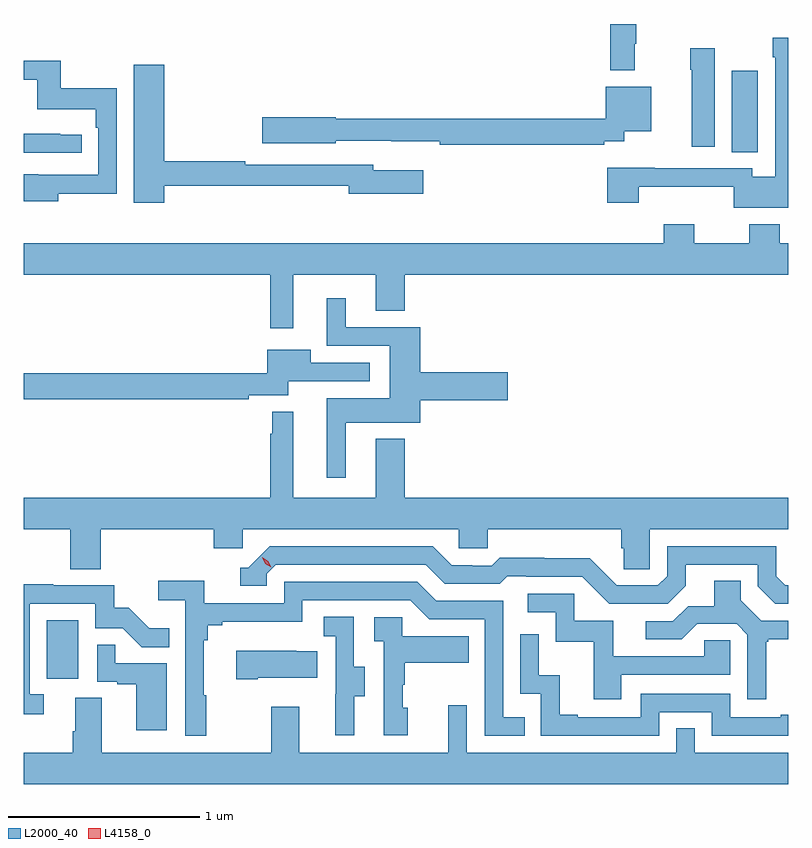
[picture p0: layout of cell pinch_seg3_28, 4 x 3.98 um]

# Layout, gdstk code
import gdstk
lib = gdstk.Library(unit=1e-6, precision=1e-09)
def R(c, l, rs):  # rectangles x0, y0, x1, y1
    for r in rs: c.add(gdstk.rectangle(r[:2], r[2:], *l))
def P(c, l, *ps):  # polygons
    for p in ps: c.add(gdstk.Polygon(p, *l))
L2000_40 = (2000, 40)
L4158_0 = (4158, 0)

pinch_seg3_28 = lib.new_cell('pinch_seg3_28')
R(pinch_seg3_28, L2000_40, [(1103.048,729.438,1103.212,729.745), (1106.63,732.193,1106.767,732.619)])
P(pinch_seg3_28, L2000_40, [(1106.122,732.761),(1106.129,732.761),(1106.129,732.863),(1105.993,732.863),(1105.993,732.621),(1106.122,732.621)],
  [(1106.926,732.792),(1106.844,732.792),(1106.844,732.689),(1106.856,732.689),(1106.856,732.064),(1106.736,732.064),(1106.736,732.108),(1106.227,732.108),(1106.227,732.11),(1105.979,732.11),(1105.979,731.928),(1106.144,731.928),(1106.144,732.011),(1106.64,732.011),(1106.64,731.903),(1106.926,731.903)],
  [(1106.542,732.736),(1106.413,732.736),(1106.413,732.623),(1106.42,732.623),(1106.42,732.222),(1106.542,732.222)],
  [(1103.107,731.974),(1103.412,731.974),(1103.412,732.526),(1103.119,732.526),(1103.119,732.672),(1102.926,732.672),(1102.926,732.571),(1102.998,732.571),(1102.998,732.416),(1103.303,732.416),(1103.303,732.32),(1103.316,732.32),(1103.316,732.075),(1103.003,732.075),(1103.003,732.076),(1102.926,732.076),(1102.926,731.936),(1103.107,731.936)],
  [(1103.662,732.018),(1104.626,732.018),(1104.626,731.975),(1105.015,731.975),(1105.015,732.097),(1104.754,732.097),(1104.754,732.126),(1104.086,732.126),(1104.086,732.146),(1103.662,732.146),(1103.662,732.649),(1103.501,732.649),(1103.501,731.928),(1103.662,731.928)],
  [(1105.964,732.251),(1106.067,732.251),(1106.067,732.302),(1106.209,732.302),(1106.209,732.535),(1105.971,732.535),(1105.971,732.368),(1104.558,732.368),(1104.558,732.374),(1104.174,732.374),(1104.174,732.239),(1104.558,732.239),(1104.558,732.252),(1104.85,732.252),(1104.85,732.251),(1105.102,732.251),(1105.102,732.232),(1105.964,732.232)],
  [(1103.23,732.285),(1103.117,732.285),(1103.117,732.29),(1102.926,732.29),(1102.926,732.189),(1103.23,732.189)],
  [(1104.337,731.552),(1104.767,731.552),(1104.767,731.362),(1104.92,731.362),(1104.92,731.552),(1106.926,731.552),(1106.926,731.716),(1106.882,731.716),(1106.882,731.815),(1106.722,731.815),(1106.722,731.716),(1106.433,731.716),(1106.433,731.815),(1106.273,731.815),(1106.273,731.716),(1102.926,731.716),(1102.926,731.552),(1104.216,731.552),(1104.216,731.271),(1104.337,731.271)],
  [(1104.61,730.778),(1105.001,730.778),(1105.001,730.895),(1105.459,730.895),(1105.459,731.042),(1105.001,731.042),(1105.001,731.277),(1104.61,731.277),(1104.61,731.428),(1104.512,731.428),(1104.512,731.181),(1104.842,731.181),(1104.842,730.906),(1104.512,730.906),(1104.512,730.491),(1104.61,730.491)],
  [(1104.104,730.92),(1104.31,730.92),(1104.31,730.995),(1104.736,730.995),(1104.736,731.091),(1104.427,731.091),(1104.427,731.158),(1104.2,731.158),(1104.2,731.036),(1102.926,731.036),(1102.926,730.9),(1104.104,730.9)],
  [(1105.203,730.122),(1105.353,730.122),(1105.353,730.22),(1106.051,730.22),(1106.051,730.122),(1106.065,730.122),(1106.065,730.012),(1106.202,730.012),(1106.202,730.22),(1106.926,730.22),(1106.926,730.384),(1104.92,730.384),(1104.92,730.693),(1104.767,730.693),(1104.767,730.384),(1104.337,730.384),(1104.337,730.834),(1104.226,730.834),(1104.226,730.721),(1104.216,730.721),(1104.216,730.384),(1102.926,730.384),(1102.926,730.22),(1103.17,730.22),(1103.17,730.012),(1103.33,730.012),(1103.33,730.22),(1103.921,730.22),(1103.921,730.122),(1104.072,730.122),(1104.072,730.22),(1105.203,730.22)],
  [(1106.389,729.925),(1106.389,730.035),(1106.766,730.035),(1106.766,729.921),(1106.856,729.831),(1106.926,729.831),(1106.926,729.927),(1106.91,729.927),(1106.862,729.975),(1106.862,730.131),(1106.292,730.131),(1106.292,729.975),(1106.244,729.927),(1106.028,729.927),(1105.886,730.069),(1105.65,730.069),(1105.65,730.072),(1105.417,730.072),(1105.375,730.029),(1105.272,730.029),(1105.272,730.032),(1105.165,730.032),(1105.066,730.131),(1104.213,730.131),(1104.102,730.02),(1104.059,730.02),(1104.059,729.924),(1104.198,729.924),(1104.198,729.987),(1104.246,730.035),(1105.029,730.035),(1105.128,729.936),(1105.417,729.936),(1105.456,729.975),(1105.555,729.975),(1105.555,729.972),(1105.848,729.972),(1105.989,729.831),(1106.295,729.831)],
  [(1106.809,729.633),(1106.821,729.633),(1106.821,729.644),(1106.926,729.644),(1106.926,729.741),(1106.784,729.741),(1106.677,729.848),(1106.677,729.95),(1106.537,729.95),(1106.537,729.818),(1106.402,729.818),(1106.322,729.738),(1106.181,729.738),(1106.181,729.645),(1106.368,729.645),(1106.449,729.726),(1106.655,729.726),(1106.712,729.669),(1106.712,729.33),(1106.809,729.33)],
  [(1103.881,729.353),(1103.869,729.353),(1103.869,729.641),(1103.888,729.641),(1103.888,729.718),(1103.965,729.718),(1103.965,729.737),(1104.384,729.737),(1104.384,729.849),(1104.948,729.849),(1105.047,729.75),(1105.338,729.75),(1105.338,729.141),(1105.547,729.141),(1105.547,729.237),(1105.434,729.237),(1105.434,729.846),(1105.084,729.846),(1104.985,729.945),(1104.288,729.945),(1104.288,729.834),(1103.87,729.834),(1103.87,729.95),(1103.631,729.95),(1103.631,729.848),(1103.772,729.848),(1103.772,729.141),(1103.881,729.141)],
  [(1103.032,729.357),(1102.959,729.357),(1102.959,729.831),(1103.301,729.831),(1103.301,729.702),(1103.445,729.702),(1103.543,729.604),(1103.687,729.604),(1103.687,729.703),(1103.583,729.703),(1103.476,729.81),(1103.4,729.81),(1103.4,729.927),(1103.081,729.927),(1103.081,729.932),(1102.926,729.932),(1102.926,729.252),(1103.032,729.252)],
  [(1106.053,729.459),(1106.622,729.459),(1106.622,729.639),(1106.485,729.639),(1106.485,729.555),(1106.011,729.555),(1106.011,729.741),(1105.806,729.741),(1105.806,729.882),(1105.563,729.882),(1105.563,729.786),(1105.71,729.786),(1105.71,729.633),(1105.909,729.633),(1105.909,729.33),(1106.053,729.33)],
  [(1104.655,729.346),(1104.709,729.346),(1104.709,729.501),(1104.654,729.501),(1104.654,729.764),(1104.495,729.764),(1104.495,729.661),(1104.558,729.661),(1104.558,729.357),(1104.557,729.357),(1104.557,729.144),(1104.655,729.144)],
  [(1104.934,729.288),(1104.909,729.288),(1104.909,729.407),(1104.919,729.407),(1104.919,729.521),(1105.253,729.521),(1105.253,729.661),(1104.906,729.661),(1104.906,729.759),(1104.759,729.759),(1104.759,729.635),(1104.81,729.635),(1104.81,729.144),(1104.934,729.144)],
  [(1106.25,729.264),(1106.526,729.264),(1106.526,729.141),(1106.926,729.141),(1106.926,729.25),(1106.885,729.25),(1106.885,729.237),(1106.622,729.237),(1106.622,729.36),(1106.154,729.36),(1106.154,729.237),(1105.825,729.237),(1105.825,729.25),(1105.73,729.25),(1105.73,729.458),(1105.62,729.458),(1105.62,729.67),(1105.524,729.67),(1105.524,729.36),(1105.632,729.36),(1105.632,729.141),(1106.25,729.141)],
  [(1103.674,729.519),(1103.405,729.519),(1103.405,729.617),(1103.31,729.617),(1103.31,729.423),(1103.417,729.423),(1103.417,729.411),(1103.516,729.411),(1103.516,729.168),(1103.674,729.168)],
  [(1104.151,729.443),(1104.461,729.443),(1104.461,729.583),(1104.353,729.583),(1104.353,729.586),(1104.039,729.586),(1104.039,729.436),(1104.151,729.436)],
  [(1106.926,729.052),(1106.436,729.052),(1106.436,729.179),(1106.34,729.179),(1106.34,729.052),(1105.245,729.052),(1105.245,729.301),(1105.148,729.301),(1105.148,729.052),(1104.367,729.052),(1104.367,729.292),(1104.22,729.292),(1104.22,729.052),(1103.335,729.052),(1103.335,729.338),(1103.195,729.338),(1103.195,729.164),(1103.183,729.164),(1103.183,729.052),(1102.926,729.052),(1102.926,728.888),(1106.926,728.888)])
P(pinch_seg3_28, L4158_0, [(1104.222,730.021),(1104.191,730.04),(1104.175,730.073),(1104.175,730.074),(1104.175,730.074),(1104.206,730.054),(1104.222,730.021),(1104.222,730.021)])

lib.write_gds('pinch_seg3_28.gds')
